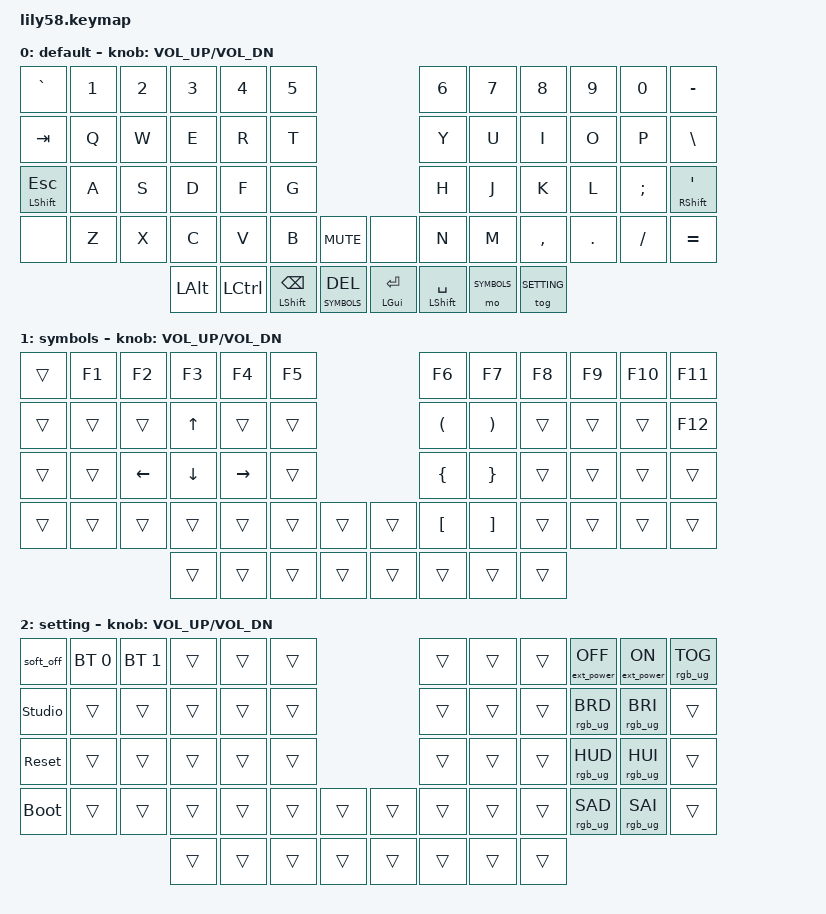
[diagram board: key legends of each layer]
#include <behaviors.dtsi>
#include <dt-bindings/zmk/keys.h>
#include <dt-bindings/zmk/bt.h>
#include <dt-bindings/zmk/rgb.h>
#include <dt-bindings/zmk/ext_power.h>

#define BASE 0
#define SYMBOLS 1
#define SETTING 2


&led_strip {
    chain-length = <29>;
};

/ {
    behaviors {
        mt: mod_tap {
            compatible = "zmk,behavior-hold-tap";
            label = "MT";
            tapping-term-ms = <230>;
            quick-tap-ms = <175>;
            require-prior-idle-ms = <125>;
            flavor = "tap-preferred";
            retro-tap;
            bindings = <&kp>, <&kp>;
        };

        lt: layer_tap {
            compatible = "zmk,behavior-hold-tap";
            label = "LT";
            tapping-term-ms = <230>;
            quick-tap-ms = <175>;
            require-prior-idle-ms = <125>;
            flavor = "tap-preferred";
            retro-tap;
            bindings = <&kp>, <&mo>;
        };
    };
};


/ {
    keymap {
        compatible = "zmk,keymap";

        default_layer {
            display-name = "default";
// ------------------------------------------------------------------------------------------------------------
// |       `       |  1  |  2  |  3   |  4   |     5     |                                     |      6     |   7   |   8   |     9    |   0   |     -     |

// |      TAB      |  Q  |  W  |  E   |  R   |     T     |                                     |      Y     |   U   |   I   |     O    |   P   |     \     |

// |  ESC (SHIFT)  |  A  |  S  |  D   |  F   |     G     |                                     |      H     |   J   |   K   |     L    |   ;   | ' (SHIFT) |

// |               |  Z  |  X  |  C   |  V   |     B     |        MUTE      |  |               |      N     |   M   |   ,   |     .    |   /   |     =     |

//                             | ALT  | CTRL | BKSPC (L2)|  DEL (Symbols) |  | ENTER (COMMAND) | SPACE (L2) |       |SETTING |
            bindings = <
&kp GRAVE      &kp N1   &kp N2   &kp N3    &kp N4    &kp N5                                            &kp N6             &kp N7         &kp N8        &kp N9    &kp N0    &kp MINUS
&kp TAB        &kp Q    &kp W    &kp E     &kp R     &kp T                                             &kp Y              &kp U          &kp I         &kp O     &kp P     &kp BSLH
&mt LSHFT ESC  &kp A    &kp S    &kp D     &kp F     &kp G                                             &kp H              &kp J          &kp K         &kp L     &kp SEMI  &mt RSHFT SQT
&none          &kp Z    &kp X    &kp C     &kp V     &kp B           &kp C_MUTE          &none         &kp N              &kp M          &kp COMMA     &kp DOT   &kp FSLH  &kp EQUAL
                                 &kp LALT &kp LCTRL  &mt LSHFT BSPC  &lt SYMBOLS DEL     &mt LGUI RET  &mt LSHFT SPACE    &mo SYMBOLS    &tog SETTING
            >;

            sensor-bindings = <&inc_dec_kp C_VOL_UP C_VOL_DN>;
        };

        symbols_layer {
            display-name = "symbols";
// ------------------------------------------------------------------------------------------------------------
// |       |  F1  |  F2  |  F3  |  F4  |  F5  |                   |  F6   |   F7  |  F8   |  F9  |  F10  |  F11  |
// |       |      |   ^  |      |      |      |                   |   (   |   )   |       |      |       |  F12  |
// |       |  <-  |   v  |  ->  |      |      |                   |   {   |   }   |       |      |       |       |
// |       |      |      |      |      |      |        |  |       |   [   |   ]   |       |      |       |       |
//                       |      |      |      |        |  |       |       |       |       |
            bindings = <
&trans    &kp F1    &kp F2    &kp F3      &kp F4    &kp F5                          &kp F6      &kp F7      &kp F8    &kp F9      &kp F10   &kp F11
&trans    &trans    &trans    &kp UP      &trans    &trans                          &kp LPAR    &kp RPAR    &trans    &trans      &trans    &kp F12
&trans    &trans    &kp LEFT  &kp DOWN    &kp RIGHT &trans                          &kp LBRC    &kp RBRC    &trans    &trans      &trans    &trans
&trans    &trans    &trans    &trans      &trans    &trans    &trans       &trans   &kp LBKT    &kp RBKT    &trans    &trans      &trans    &trans
                              &trans      &trans    &trans    &trans       &trans   &trans      &trans      &trans
            >;

            sensor-bindings = <&inc_dec_kp C_VOL_UP C_VOL_DN>;
        };

        setting_layer {
            display-name = "setting";
// ------------------------------------------------------------------------------------------------------------
// |   OFF  |  BT1  |  BT2  |      |      |      |                   |       |       |       |      |              |   RGB TOG   |
// | STUDIO |       |       |      |      |      |                   |       |       |       |      |    BRIGHT-   |   BRIGHT+   |
// | RESET  |       |       |      |      |      |                   |       |       |       |      |      HUE-    |     HUE+    |
// |  BOOT  |       |       |      |      |      |        |  |       |       |       |       |      |  SATURATION- | SATURATION+ |
//                        |      |      |      |        |  |       |       |       |       |
            bindings = <
&soft_off        &bt BT_SEL 0    &bt BT_SEL 1    &trans      &trans    &trans                           &trans      &trans      &trans    &ext_power EP_OFF  &ext_power EP_ON   &rgb_ug RGB_TOG
&studio_unlock   &trans          &trans          &trans      &trans    &trans                           &trans      &trans      &trans    &rgb_ug RGB_BRD    &rgb_ug RGB_BRI    &trans
&sys_reset       &trans          &trans          &trans      &trans    &trans                           &trans      &trans      &trans    &rgb_ug RGB_HUD    &rgb_ug RGB_HUI    &trans
&bootloader      &trans          &trans          &trans      &trans    &trans    &trans       &trans    &trans      &trans      &trans    &rgb_ug RGB_SAD    &rgb_ug RGB_SAI    &trans
                                                 &trans      &trans    &trans    &trans       &trans    &trans      &trans      &trans
            >;

            sensor-bindings = <&inc_dec_kp C_VOL_UP C_VOL_DN>;
        };
    };
};
